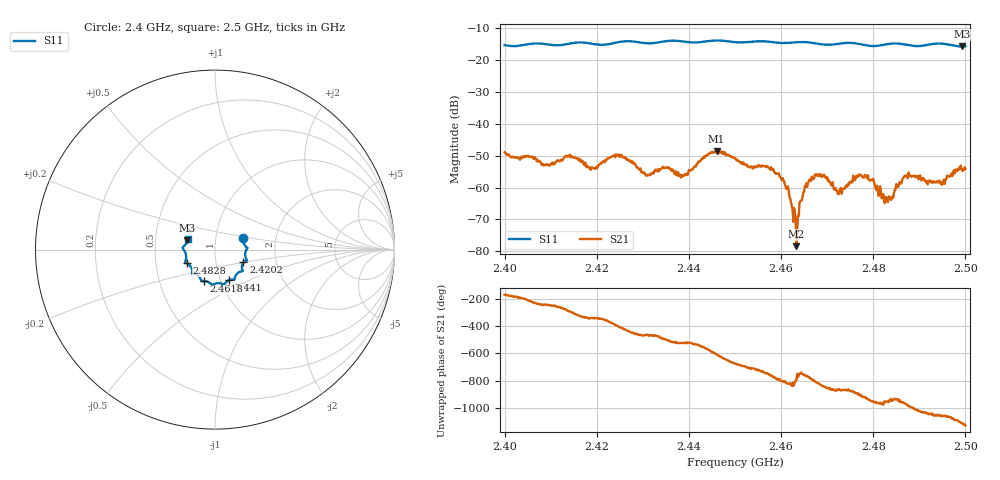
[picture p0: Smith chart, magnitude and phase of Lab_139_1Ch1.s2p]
# Hz S RI R 50
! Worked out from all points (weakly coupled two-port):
!   601 points, 2.4 GHz to 2.5 GHz, reference 50 ohm
!   highest |S21| = -48.53 dB at 2.446 GHz (marker M1); lowest = -78.4 dB at 2.4633 GHz (marker M2)
!   lowest |S11| = -15.8 dB at 2.4993 GHz (marker M3), VSWR 1.39, Z = 36.5 + j3.85 ohm
!   |S11| at or under -10 dB: start of sweep to end of sweep
!   S12 and S22 are empty: the file has one direction only
!   S11 on the Smith chart (normalised r, x): 2.4 GHz: 1.36, +0.18; 2.4202 GHz: 1.36, -0.20; 2.441 GHz: 1.10, -0.39; 2.4618 GHz: 0.84, -0.30; 2.4828 GHz: 0.72, -0.11; 2.5 GHz: 0.73, +0.09
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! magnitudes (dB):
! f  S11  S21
! 2.4 GHz  -15.4  -48.9
! 2.4167 GHz  -14.5  -52.0
! 2.4202 GHz  -15.2  -53.8
! 2.4247 GHz  -14.4  -49.9
! 2.4308 GHz  -14.8  -56.3
! 2.4333 GHz  -14.5  -54.3
! 2.441 GHz  -14.6  -53.7
! 2.446 GHz  -13.9  -48.5
! 2.45 GHz  -14.4  -51.0
! 2.4578 GHz  -14.4  -53.6
! 2.4618 GHz  -14.6  -63.0
! 2.4633 GHz  -14.5  -78.4
! 2.465 GHz  -14.4  -61.3
! 2.4667 GHz  -14.6  -56.6
! 2.4727 GHz  -14.9  -61.3
! 2.4783 GHz  -15.4  -56.2
! 2.4828 GHz  -15.1  -63.2
! 2.4833 GHz  -15.0  -62.8
! 2.4872 GHz  -15.2  -56.3
! 2.495 GHz  -14.9  -58.4
! 2.4993 GHz  -15.8  -54.8
! 2.5 GHz  -15.7  -54.1
